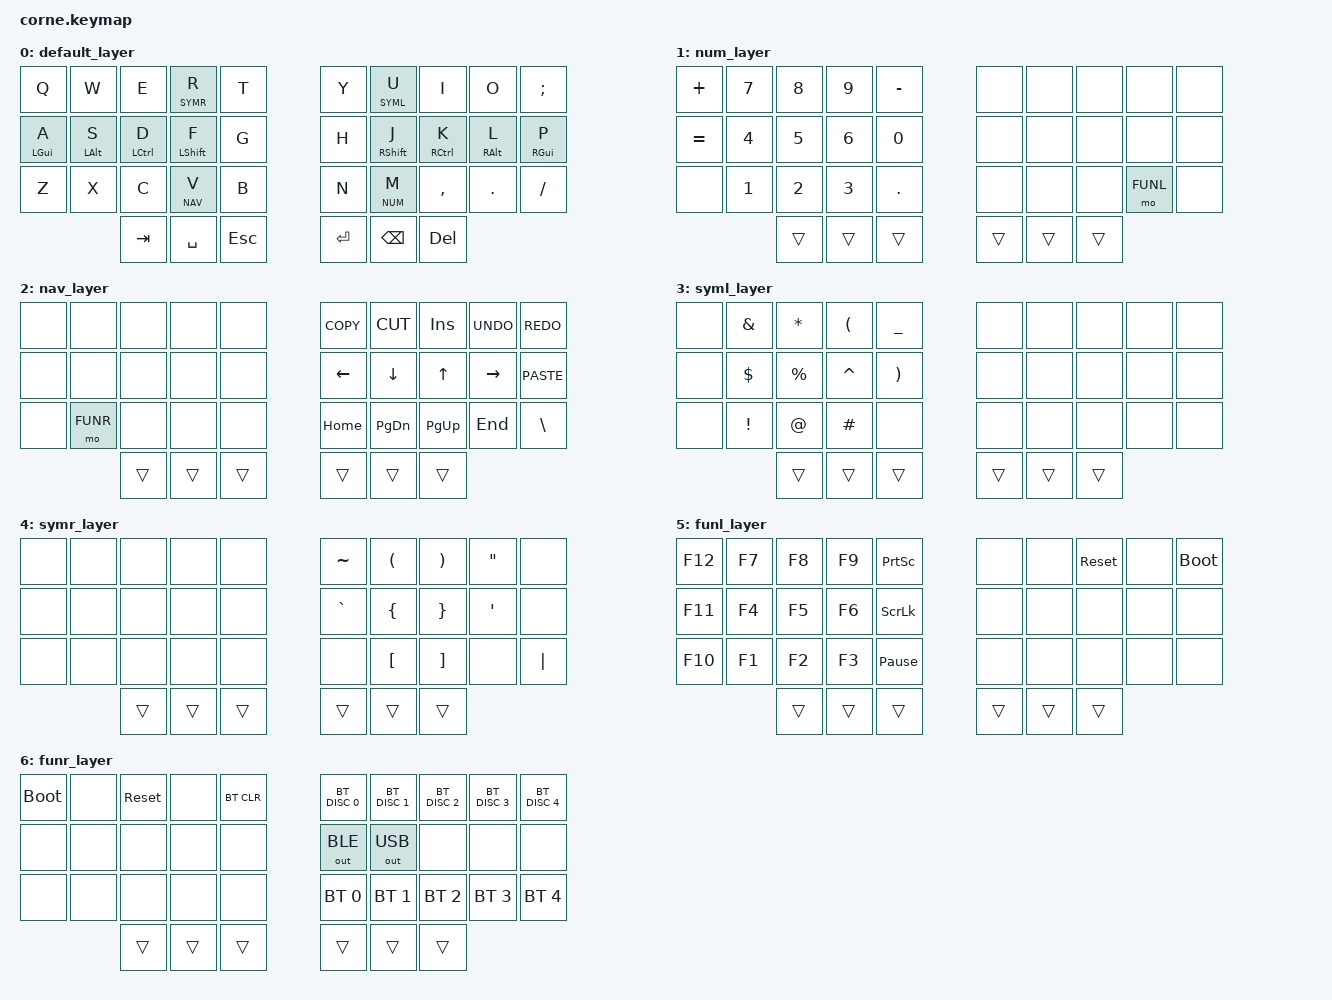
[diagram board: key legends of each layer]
#include <behaviors.dtsi>
#include <dt-bindings/zmk/bt.h>
#include <dt-bindings/zmk/keys.h>
#include <dt-bindings/zmk/outputs.h>

#include "include/36.h"
#include "include/helper.h"

#define ___ &trans
#define xxx &none

#define DEF 0
#define NUM 1
#define NAV 2
#define SYML 3
#define SYMR 4
#define FUNL 5
#define FUNR 6

#define hm_tap_ms 250
#define def_tap_ms 250
#define quick_ms 175
#define idle_ms 65

#undef COMBO_TERM
#define COMBO_TERM 50

/ {
  chosen {
    zmk,matrix_transform = &five_column_transform;
  };
};

&lt {
  flavor = "balanced";
  tapping-term-ms = <def_tap_ms>;
  quick-tap-ms = <quick_ms>;
};

ZMK_HOLD_TAP(hml,
    flavor = "balanced";
    tapping-term-ms = <hm_tap_ms>;
    quick-tap-ms = <quick_ms>;
    require-prior-idle-ms = <idle_ms>;
    hold-trigger-key-positions = <KEYS_R THUMBS>;
    hold-trigger-on-release;
    bindings = <&kp>, <&kp>;
)

ZMK_HOLD_TAP(hmr,
    flavor = "balanced";
    tapping-term-ms = <hm_tap_ms>;
    quick-tap-ms = <quick_ms>;
    require-prior-idle-ms = <idle_ms>;
    hold-trigger-key-positions = <KEYS_L THUMBS>;
    hold-trigger-on-release;
    bindings = <&kp>, <&kp>;
)

/* Custom behaviors */
ZMK_CAPS_WORD(my_caps,
  continue-list = <UNDERSCORE MINUS BSPC>;
)

ZMK_TAP_DANCE(caps_dance,
  tapping-term-ms = <def_tap_ms>;
  bindings = <&my_caps>, <&kp CAPS>;
)

// combos
ZMK_COMBO(caps_com, &caps_dance, LM0 RM0, DEF)

/* Keymap */
ZMK_LAYER(default_layer,
  // ╭─────────────┬─────────────┬─────────────┬─────────────┬─────────────╮   ╭─────────────┬─────────────┬─────────────┬─────────────┬─────────────╮
      &kp Q         &kp W         &kp E         &lt SYMR R    &kp T             &kp Y         &lt SYML U    &kp I         &kp O         &kp SEMI     
  // ├─────────────┼─────────────┼─────────────┼─────────────┼─────────────┤   ├─────────────┼─────────────┼─────────────┼─────────────┼─────────────┤
      &hml LGUI A   &hml LALT S   &hml LCTRL D  &hml LSHIFT F &kp G             &kp H         &hmr RSHFT J  &hmr RCTRL K  &hmr RALT L   &hmr RGUI P  
  // ├─────────────┼─────────────┼─────────────┼─────────────┼─────────────┤   ├─────────────┼─────────────┼─────────────┼─────────────┼─────────────┤
      &kp Z         &kp X         &kp C         &lt NAV V     &kp B             &kp N         &lt NUM M     &kp COMMA     &kp DOT       &kp FSLH    
  // ╰─────────────────────────────────────────┼─────────────┼─────────────┤   ├─────────────┼─────────────┼─────────────────────────────────────────╯
                                  &kp TAB       &kp SPACE     &kp ESC           &kp ENTER     &kp BSPC      &kp DEL
  //                             ╰─────────────┴─────────────┴─────────────╯   ╰─────────────┴─────────────┴─────────────╯
)

ZMK_LAYER(num_layer,
  // ╭─────────────┬─────────────┬─────────────┬─────────────┬─────────────╮   ╭─────────────┬─────────────┬─────────────┬─────────────┬─────────────╮
      &kp PLUS      &kp N7        &kp N8        &kp N9        &kp MINUS         xxx           xxx           xxx           xxx           xxx         
  // ├─────────────┼─────────────┼─────────────┼─────────────┼─────────────┤   ├─────────────┼─────────────┼─────────────┼─────────────┼─────────────┤
      &kp EQUAL     &kp N4        &kp N5        &kp N6        &kp N0            xxx           xxx           xxx           xxx           xxx         
  // ├─────────────┼─────────────┼─────────────┼─────────────┼─────────────┤   ├─────────────┼─────────────┼─────────────┼─────────────┼─────────────┤
      xxx           &kp N1        &kp N2        &kp N3        &kp DOT           xxx           xxx           xxx           &mo FUNL      xxx         
  // ╰─────────────────────────────────────────┼─────────────┼─────────────┤   ├─────────────┼─────────────┼─────────────────────────────────────────╯
                                  ___           ___           ___               ___           ___           ___
  //                             ╰─────────────┴─────────────┴─────────────╯   ╰─────────────┴─────────────┴─────────────╯
)

ZMK_LAYER(nav_layer,
  // ╭─────────────┬─────────────┬─────────────┬─────────────┬─────────────╮   ╭─────────────┬─────────────┬─────────────┬─────────────┬─────────────╮
      xxx           xxx           xxx           xxx           xxx               &kp K_COPY    &kp K_CUT     &kp INSERT    &kp K_UNDO    &kp K_REDO    
  // ├─────────────┼─────────────┼─────────────┼─────────────┼─────────────┤   ├─────────────┼─────────────┼─────────────┼─────────────┼─────────────┤
      xxx           xxx           xxx           xxx           xxx               &kp LEFT      &kp DOWN      &kp UP        &kp RIGHT     &kp K_PASTE    
  // ├─────────────┼─────────────┼─────────────┼─────────────┼─────────────┤   ├─────────────┼─────────────┼─────────────┼─────────────┼─────────────┤
      xxx           &mo FUNR      xxx           xxx           xxx               &kp HOME      &kp PG_DN     &kp PG_UP     &kp END       &kp BSLH     
  // ╰─────────────┴─────────────┼─────────────┼─────────────┼─────────────┤   ├─────────────┼─────────────┼─────────────────────────────────────────╯
                                  ___           ___           ___               ___           ___           ___     
  //                             ╰─────────────┴─────────────┴─────────────╯   ╰─────────────┴─────────────┴─────────────╯
)

ZMK_LAYER(syml_layer,
  // ╭─────────────┬─────────────┬─────────────┬─────────────┬─────────────╮   ╭─────────────┬─────────────┬─────────────┬─────────────┬─────────────╮
      xxx           &kp AMPS      &kp STAR      &kp LPAR      &kp UNDER         xxx           xxx           xxx           xxx           xxx         
  // ├─────────────┼─────────────┼─────────────┼─────────────┼─────────────┤   ├─────────────┼─────────────┼─────────────┼─────────────┼─────────────┤
      xxx           &kp DLLR      &kp PRCNT     &kp CARET     &kp RPAR          xxx           xxx           xxx           xxx           xxx         
  // ├─────────────┼─────────────┼─────────────┼─────────────┼─────────────┤   ├─────────────┼─────────────┼─────────────┼─────────────┼─────────────┤
      xxx           &kp EXCL      &kp AT        &kp HASH      xxx               xxx           xxx           xxx           xxx           xxx         
  // ╰─────────────────────────────────────────┼─────────────┼─────────────┤   ├─────────────┼─────────────┼─────────────────────────────────────────╯
                                  ___           ___           ___               ___           ___           ___
  //                             ╰─────────────┴─────────────┴─────────────╯   ╰─────────────┴─────────────┴─────────────╯
)

ZMK_LAYER(symr_layer,
  // ╭─────────────┬─────────────┬─────────────┬─────────────┬─────────────╮   ╭─────────────┬─────────────┬─────────────┬─────────────┬─────────────╮
      xxx           xxx           xxx           xxx           xxx               &kp TILDE     &kp LPAR      &kp RPAR      &kp DQT       xxx
  // ├─────────────┼─────────────┼─────────────┼─────────────┼─────────────┤   ├─────────────┼─────────────┼─────────────┼─────────────┼─────────────┤
      xxx           xxx           xxx           xxx           xxx               &kp GRAVE     &kp LBRC      &kp RBRC      &kp SQT       xxx
  // ├─────────────┼─────────────┼─────────────┼─────────────┼─────────────┤   ├─────────────┼─────────────┼─────────────┼─────────────┼─────────────┤
      xxx           xxx           xxx           xxx           xxx               xxx           &kp LBKT      &kp RBKT      xxx           &kp PIPE
  // ╰─────────────────────────────────────────┼─────────────┼─────────────┤   ├─────────────┼─────────────┼─────────────────────────────────────────╯
                                  ___           ___           ___               ___           ___           ___
  //                             ╰─────────────┴─────────────┴─────────────╯   ╰─────────────┴─────────────┴─────────────╯
)

ZMK_LAYER(funl_layer,
  // ╭─────────────┬─────────────┬─────────────┬─────────────┬─────────────╮   ╭─────────────┬─────────────┬─────────────┬─────────────┬─────────────╮
      &kp F12       &kp F7        &kp F8        &kp F9        &kp PRINTSCREEN   xxx           xxx           &sys_reset    xxx           &bootloader    
  // ├─────────────┼─────────────┼─────────────┼─────────────┼─────────────┤   ├─────────────┼─────────────┼─────────────┼─────────────┼─────────────┤
      &kp F11       &kp F4        &kp F5        &kp F6        &kp SCROLLLOCK    xxx           xxx           xxx           xxx           xxx         
  // ├─────────────┼─────────────┼─────────────┼─────────────┼─────────────┤   ├─────────────┼─────────────┼─────────────┼─────────────┼─────────────┤
      &kp F10       &kp F1        &kp F2        &kp F3        &kp PAUSE_BREAK   xxx           xxx           xxx           xxx           xxx         
  // ╰─────────────────────────────────────────┼─────────────┼─────────────┤   ├─────────────┼─────────────┼─────────────────────────────────────────╯
                                  ___           ___           ___               ___           ___           ___
  //                             ╰─────────────┴─────────────┴─────────────╯   ╰─────────────┴─────────────┴─────────────╯
)

ZMK_LAYER(funr_layer,
  // ╭─────────────┬─────────────┬─────────────┬─────────────┬─────────────╮   ╭─────────────┬─────────────┬─────────────┬─────────────┬─────────────╮
      &bootloader   xxx           &sys_reset    xxx           &bt BT_CLR        &bt BT_DISC 0 &bt BT_DISC 1 &bt BT_DISC 2 &bt BT_DISC 3 &bt BT_DISC 4              
  // ├─────────────┼─────────────┼─────────────┼─────────────┼─────────────┤   ├─────────────┼─────────────┼─────────────┼─────────────┼─────────────┤
      xxx           xxx           xxx           xxx           xxx               &out OUT_BLE  &out OUT_USB  xxx           xxx           xxx
  // ├─────────────┼─────────────┼─────────────┼─────────────┼─────────────┤   ├─────────────┼─────────────┼─────────────┼─────────────┼─────────────┤
      xxx           xxx           xxx           xxx           xxx               &bt BT_SEL 0  &bt BT_SEL 1  &bt BT_SEL 2  &bt BT_SEL 3  &bt BT_SEL 4              
  // ╰─────────────────────────────────────────┼─────────────┼─────────────┤   ├─────────────┼─────────────┼─────────────────────────────────────────╯
                                  ___           ___           ___               ___           ___           ___
  //                             ╰─────────────┴─────────────┴─────────────╯   ╰─────────────┴─────────────┴─────────────╯
)
